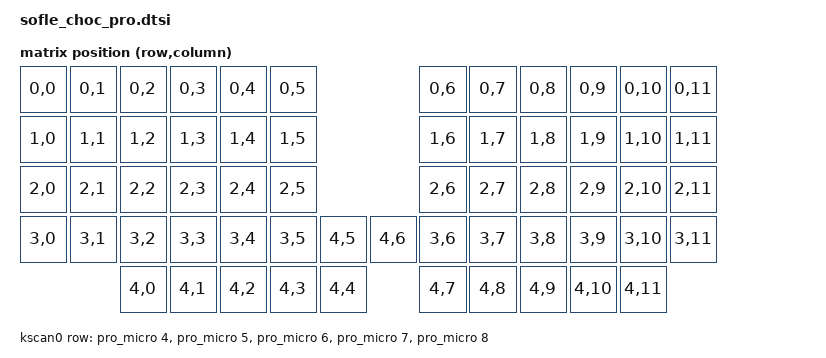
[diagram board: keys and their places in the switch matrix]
#include <dt-bindings/zmk/matrix_transform.h>
#include <dt-bindings/zmk/rgb.h>

/ {
    chosen {
        zmk,kscan = &kscan0;
        zmk,matrix_transform = &default_transform;
        zmk,underglow = &led_strip;
    };

    default_transform: matrix_transform {
        compatible = "zmk,matrix-transform";
        columns = <12>;
        rows = <5>;
        map = <
            RC(0,0) RC(0,1) RC(0,2) RC(0,3) RC(0,4) RC(0,5)                 RC(0,6) RC(0,7) RC(0,8) RC(0,9) RC(0,10) RC(0,11)
            RC(1,0) RC(1,1) RC(1,2) RC(1,3) RC(1,4) RC(1,5)                 RC(1,6) RC(1,7) RC(1,8) RC(1,9) RC(1,10) RC(1,11)
            RC(2,0) RC(2,1) RC(2,2) RC(2,3) RC(2,4) RC(2,5)                 RC(2,6) RC(2,7) RC(2,8) RC(2,9) RC(2,10) RC(2,11)
            RC(3,0) RC(3,1) RC(3,2) RC(3,3) RC(3,4) RC(3,5) RC(4,5) RC(4,6) RC(3,6) RC(3,7) RC(3,8) RC(3,9) RC(3,10) RC(3,11)
                            RC(4,0) RC(4,1) RC(4,2) RC(4,3) RC(4,4)         RC(4,7) RC(4,8) RC(4,9) RC(4,10) RC(4,11)
        >;
    };

    kscan0: kscan {
        compatible = "zmk,kscan-gpio-matrix";
        wakeup-source;
        diode-direction = "col2row";
        row-gpios
            = <&pro_micro 4 (GPIO_ACTIVE_HIGH | GPIO_PULL_DOWN)>
            , <&pro_micro 5 (GPIO_ACTIVE_HIGH | GPIO_PULL_DOWN)>
            , <&pro_micro 6 (GPIO_ACTIVE_HIGH | GPIO_PULL_DOWN)>
            , <&pro_micro 7 (GPIO_ACTIVE_HIGH | GPIO_PULL_DOWN)>
            , <&pro_micro 8 (GPIO_ACTIVE_HIGH | GPIO_PULL_DOWN)>
            ;
    };
};

/* SPI für nice!view MiP Displays */
&nice_view_spi {
    status = "okay";
};

/* RGB Konfiguration */
&pinctrl {
    spi3_default: spi3_default {
        group1 {
            psels = <NRF_PSEL(SPIM_MOSI, 0, 6)>;
        };
    };
};

&spi3 {
    compatible = "nordic,nrf-spim";
    status = "okay";
    pinctrl-0 = <&spi3_default>;
    pinctrl-names = "default";

    led_strip: ws2812@0 {
        compatible = "worldsemi,ws2812-spi";
        reg = <0>;
        spi-max-frequency = <4000000>;
        chain-length = <58>; /* 29 LEDs pro Seite */
        spi-one-frame = <0x70>;
        spi-zero-frame = <0x40>;
        color-mapping = <LED_COLOR_ID_GREEN LED_COLOR_ID_RED LED_COLOR_ID_BLUE>;
    };
};
